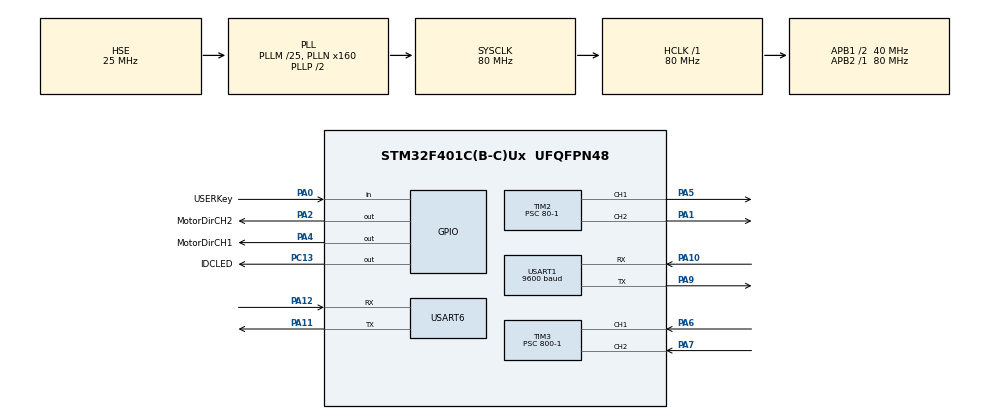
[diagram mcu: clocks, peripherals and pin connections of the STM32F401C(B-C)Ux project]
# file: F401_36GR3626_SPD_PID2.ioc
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FREERTOS.Tasks01=defaultTask,0,128,StartDefaultTask,Default,NULL,Dynamic,NULL,NULL;myTask02,-3,512,StartTask36GR3626SPDPID,Default,NULL,Dynamic,NULL,NULL;myTask03,-3,512,StartTaskUART1Send,Default,NULL,Dynamic,NULL,NULL;myTask04,-3,512,StartTaskALL_Ctrl,Default,NULL,Dynamic,NULL,NULL
FREERTOS.configTOTAL_HEAP_SIZE=51200
FREERTOS.configUSE_NEWLIB_REENTRANT=0
FREERTOS.copyHeapFile=1
Mcu.Family=STM32F4
Mcu.Name=STM32F401C(B-C)Ux
Mcu.Package=UFQFPN48
NVIC.PriorityGroup=NVIC_PRIORITYGROUP_4
NVIC.TIM1_UP_TIM10_IRQn=true\:15\:0\:false\:false\:true\:false\:false\:true\:true
NVIC.TIM3_IRQn=true\:5\:0\:false\:false\:true\:true\:true\:true\:true
NVIC.TIM5_IRQn=true\:6\:0\:true\:false\:true\:true\:true\:true\:true
NVIC.TimeBase=TIM1_UP_TIM10_IRQn
NVIC.TimeBaseIP=TIM1
NVIC.USART1_IRQn=true\:5\:0\:false\:false\:true\:true\:true\:true\:true
NVIC.USART6_IRQn=true\:7\:0\:true\:false\:true\:true\:true\:true\:true
PA0-WKUP.GPIO_Label=USERKey
PA0-WKUP.GPIO_PuPd=GPIO_PULLUP
PA0-WKUP.Signal=GPIO_Input
PA1.Signal=S_TIM2_CH2
PA10.Mode=Asynchronous
PA10.Signal=USART1_RX
PA11.Mode=Asynchronous
PA11.Signal=USART6_TX
PA12.Mode=Asynchronous
PA12.Signal=USART6_RX
PA2.GPIO_Label=MotorDirCH2
PA2.Signal=GPIO_Output
PA4.GPIO_Label=MotorDirCH1
PA4.Signal=GPIO_Output
PA5.Signal=S_TIM2_CH1_ETR
PA6.GPIO_PuPd=GPIO_PULLUP
PA6.Signal=S_TIM3_CH1
PA7.GPIO_PuPd=GPIO_PULLUP
PA7.Signal=S_TIM3_CH2
PA9.Mode=Asynchronous
PA9.Signal=USART1_TX
PC13-ANTI_TAMP.GPIO_Label=IDCLED
PC13-ANTI_TAMP.PinState=GPIO_PIN_SET
PC13-ANTI_TAMP.Signal=GPIO_Output
PH0\ -\ OSC_IN.Mode=HSE-External-Oscillator
PH0\ -\ OSC_IN.Signal=RCC_OSC_IN
PH1\ -\ OSC_OUT.Mode=HSE-External-Oscillator
PH1\ -\ OSC_OUT.Signal=RCC_OSC_OUT
ProjectManager.HeapSize=0x200
ProjectManager.StackSize=0x400
ProjectManager.TargetToolchain=MDK-ARM V5.32
RCC.48MHZClocksFreq_Value=40000000
RCC.AHBFreq_Value=80000000
RCC.APB1CLKDivider=RCC_HCLK_DIV2
RCC.APB1Freq_Value=40000000
RCC.APB1TimFreq_Value=80000000
RCC.APB2Freq_Value=80000000
RCC.APB2TimFreq_Value=80000000
RCC.CortexFreq_Value=80000000
RCC.HCLKFreq_Value=80000000
RCC.HSE_VALUE=25000000
RCC.HSI_VALUE=16000000
RCC.LSE_VALUE=32768
RCC.PLLM=25
RCC.PLLN=160
RCC.PLLSourceVirtual=RCC_PLLSOURCE_HSE
RCC.SYSCLKFreq_VALUE=80000000
RCC.SYSCLKSource=RCC_SYSCLKSOURCE_PLLCLK
RCC.VCOOutputFreq_Value=160000000
SH.S_TIM2_CH1_ETR.0=TIM2_CH1,PWM Generation1 CH1
SH.S_TIM2_CH2.0=TIM2_CH2,PWM Generation2 CH2
SH.S_TIM3_CH1.0=TIM3_CH1,Input_Capture1_from_TI1
SH.S_TIM3_CH2.0=TIM3_CH2,Input_Capture2_from_TI2
TIM2.Channel-PWM\ Generation1\ CH1=TIM_CHANNEL_1
TIM2.Channel-PWM\ Generation2\ CH2=TIM_CHANNEL_2
TIM2.Period=500-1
TIM2.Prescaler=80-1
TIM3.AutoReloadPreload=TIM_AUTORELOAD_PRELOAD_ENABLE
TIM3.Channel-Input_Capture1_from_TI1=TIM_CHANNEL_1
TIM3.Channel-Input_Capture2_from_TI2=TIM_CHANNEL_2
TIM3.ClockDivision=TIM_CLOCKDIVISION_DIV1
TIM3.ICFilter_CH1=2
TIM3.ICFilter_CH2=2
TIM3.Period=50000
TIM3.Prescaler=800-1
TIM5.AutoReloadPreload=TIM_AUTORELOAD_PRELOAD_ENABLE
TIM5.Period=10000-1
TIM5.Prescaler=80-1
USART1.BaudRate=9600
USART1.VirtualMode=VM_ASYNC
USART6.VirtualMode=VM_ASYNC
VP_FREERTOS_VS_CMSIS_V1.Mode=CMSIS_V1
VP_SYS_VS_tim1.Mode=TIM1
VP_TIM3_VS_ClockSourceINT.Mode=Internal
VP_TIM5_VS_ClockSourceINT.Mode=Internal
board=custom

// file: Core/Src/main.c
/* USER CODE BEGIN Header */
/**
 ******************************************************************************
 * @file           : main.c
 * @brief          : Main program body
 ******************************************************************************
 * @attention
 *
 * Copyright (c) 2023 STMicroelectronics.
 * All rights reserved.
 *
 * This software is licensed under terms that can be found in the LICENSE file
 * in the root directory of this software component.
 * If no LICENSE file comes with this software, it is provided AS-IS.
 *
 ******************************************************************************
 */
/* USER CODE END Header */
#include "main.h"
#include "cmsis_os.h"
#include "tim.h"
#include "usart.h"
#include "gpio.h"

/* USER CODE BEGIN Includes */
#include "USART.h"
#include "Motor.h"
#include "Encoder.h"
/* USER CODE END Includes */

/* USER CODE BEGIN PD */
uint32_t ATest;
/* USER CODE END PD */

/* USER CODE BEGIN PV */
extern EncoderTypeDef MotorEncoder[2];
extern PIDTypeDef MotorPID[2];
/* USER CODE END PV */

void SystemClock_Config(void);
void MX_FREERTOS_Init(void);

int main(void)
{

  /* MCU Configuration--------------------------------------------------------*/

  /* Reset of all peripherals, Initializes the Flash interface and the Systick. */
  HAL_Init();

  /* Configure the system clock */
  SystemClock_Config();

  /* Initialize all configured peripherals */
  MX_GPIO_Init();
  MX_USART1_UART_Init();
  MX_TIM3_Init();
  MX_TIM2_Init();
  MX_TIM5_Init();
  MX_USART6_UART_Init();

  /* Call init function for freertos objects (in freertos.c) */
  MX_FREERTOS_Init();

  /* Start scheduler */
  osKernelStart();

  /* We should never get here as control is now taken by the scheduler */
  /* Infinite loop */
  while (1)
  {

  }
}

void SystemClock_Config(void)
{
  RCC_OscInitTypeDef RCC_OscInitStruct = {0};
  RCC_ClkInitTypeDef RCC_ClkInitStruct = {0};

  /** Configure the main internal regulator output voltage
  */
  __HAL_RCC_PWR_CLK_ENABLE();
  __HAL_PWR_VOLTAGESCALING_CONFIG(PWR_REGULATOR_VOLTAGE_SCALE2);

  /** Initializes the RCC Oscillators according to the specified parameters
  * in the RCC_OscInitTypeDef structure.
  */
  RCC_OscInitStruct.OscillatorType = RCC_OSCILLATORTYPE_HSE;
  RCC_OscInitStruct.HSEState = RCC_HSE_ON;
  RCC_OscInitStruct.PLL.PLLState = RCC_PLL_ON;
  RCC_OscInitStruct.PLL.PLLSource = RCC_PLLSOURCE_HSE;
  RCC_OscInitStruct.PLL.PLLM = 25;
  RCC_OscInitStruct.PLL.PLLN = 160;
  RCC_OscInitStruct.PLL.PLLP = RCC_PLLP_DIV2;
  RCC_OscInitStruct.PLL.PLLQ = 4;
  if (HAL_RCC_OscConfig(&RCC_OscInitStruct) != HAL_OK)
  {
    Error_Handler();
  }

  /** Initializes the CPU, AHB and APB buses clocks
  */
  RCC_ClkInitStruct.ClockType = RCC_CLOCKTYPE_HCLK|RCC_CLOCKTYPE_SYSCLK
                              |RCC_CLOCKTYPE_PCLK1|RCC_CLOCKTYPE_PCLK2;
  RCC_ClkInitStruct.SYSCLKSource = RCC_SYSCLKSOURCE_PLLCLK;
  RCC_ClkInitStruct.AHBCLKDivider = RCC_SYSCLK_DIV1;
  RCC_ClkInitStruct.APB1CLKDivider = RCC_HCLK_DIV2;
  RCC_ClkInitStruct.APB2CLKDivider = RCC_HCLK_DIV1;

  if (HAL_RCC_ClockConfig(&RCC_ClkInitStruct, FLASH_LATENCY_2) != HAL_OK)
  {
    Error_Handler();
  }
}

/* USER CODE BEGIN 4 */

void HAL_UART_TxCpltCallback(UART_HandleTypeDef *huart)
{
  if (huart == &huart1)
  {
  }
}

/* USER CODE END 4 */

void HAL_TIM_PeriodElapsedCallback(TIM_HandleTypeDef *htim)
{
  if (htim->Instance == TIM1) {
    HAL_IncTick();
  }
  /* USER CODE BEGIN Callback 1 */
if (htim->Instance == TIM4)
  {
  }

  if (htim->Instance == TIM5)
  { // TIM5设置的是0.01s中断�???�???
    MotorEncoder[0].WatchDogTick++;
    // 如果看门狗计数�?�，超时�???100，说明脉冲数长时间没有更�???
    // 也就是说，轮子已经有1s保持不转了，那么转�?�就强制设为0，以防止出错
    if (MotorEncoder[0].WatchDogTick > 100)
    {
      MotorEncoder[0].RotationSpeed = 0.0;
    }

    MotorEncoder[1].WatchDogTick++;
    if (MotorEncoder[1].WatchDogTick > 100)
    {
      MotorEncoder[1].RotationSpeed = 0.0;
    }
  }
  /* USER CODE END Callback 1 */
}

void Error_Handler(void)
{
  __disable_irq();
  while (1)
  {
  }
}

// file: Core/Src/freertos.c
/* USER CODE BEGIN Header */
/**
 ******************************************************************************
 * File Name          : freertos.c
 * Description        : Code for freertos applications
 ******************************************************************************
 * @attention
 *
 * Copyright (c) 2023 STMicroelectronics.
 * All rights reserved.
 *
 * This software is licensed under terms that can be found in the LICENSE file
 * in the root directory of this software component.
 * If no LICENSE file comes with this software, it is provided AS-IS.
 *
 ******************************************************************************
 */
/* USER CODE END Header */

#include "FreeRTOS.h"
#include "task.h"
#include "main.h"
#include "cmsis_os.h"

/* USER CODE BEGIN Includes */
#include "USART.h"
#include "Motor.h"
#include "Encoder.h"
#include "string.h"
#include "Controll.h"
/* USER CODE END Includes */

/* USER CODE BEGIN Variables */
extern EncoderTypeDef MotorEncoder[2];
extern PIDTypeDef MotorPID[2];
extern uint8_t g_recv_buf[11];
extern Pitch_PIDTypeDef Pit;
extern Yaw_PIDTypeDef Yaw;
extern Distance_PIDTypeDef Distance;
float roll_angle;
float pitch_angle;
float yaw_angle;
extern float Distance_Measure;
float yaw_Init;
int Task_Flag = 0;
extern uint8_t Usart_RxData;
extern float Yaw_Expect1;
struct Places_Type places_1[8];
/* USER CODE END Variables */
osThreadId defaultTaskHandle;
osThreadId myTask02Handle;
osThreadId myTask03Handle;
osThreadId myTask04Handle;

void StartDefaultTask(void const *argument);
void StartTask36GR3626SPDPID(void const *argument);
void StartTaskUART1Send(void const *argument);
void StartTaskALL_Ctrl(void const *argument);

void MX_FREERTOS_Init(void); /* (MISRA C 2004 rule 8.1) */

/* GetIdleTaskMemory prototype (linked to static allocation support) */
void vApplicationGetIdleTaskMemory(StaticTask_t **ppxIdleTaskTCBBuffer, StackType_t **ppxIdleTaskStackBuffer, uint32_t *pulIdleTaskStackSize);

/* USER CODE BEGIN GET_IDLE_TASK_MEMORY */
static StaticTask_t xIdleTaskTCBBuffer;
static StackType_t xIdleStack[configMINIMAL_STACK_SIZE];

void vApplicationGetIdleTaskMemory(StaticTask_t **ppxIdleTaskTCBBuffer, StackType_t **ppxIdleTaskStackBuffer, uint32_t *pulIdleTaskStackSize)
{
  *ppxIdleTaskTCBBuffer = &xIdleTaskTCBBuffer;
  *ppxIdleTaskStackBuffer = &xIdleStack[0];
  *pulIdleTaskStackSize = configMINIMAL_STACK_SIZE;
  /* place for user code */
}
/* USER CODE END GET_IDLE_TASK_MEMORY */

void MX_FREERTOS_Init(void)
{

  /* Create the thread(s) */
  /* definition and creation of defaultTask */
  osThreadDef(defaultTask, StartDefaultTask, osPriorityNormal, 0, 128);
  defaultTaskHandle = osThreadCreate(osThread(defaultTask), NULL);

  /* definition and creation of myTask02 */
  osThreadDef(myTask02, StartTask36GR3626SPDPID, osPriorityIdle, 0, 512);
  myTask02Handle = osThreadCreate(osThread(myTask02), NULL);

  /* definition and creation of myTask03 */
  osThreadDef(myTask03, StartTaskUART1Send, osPriorityIdle, 0, 512);
  myTask03Handle = osThreadCreate(osThread(myTask03), NULL);

  /* definition and creation of myTask04 */
  osThreadDef(myTask04, StartTaskALL_Ctrl, osPriorityIdle, 0, 512);
  myTask04Handle = osThreadCreate(osThread(myTask04), NULL);

}

void StartDefaultTask(void const *argument)
{
  for (;;)
  {
    osDelay(1);
  }
}

void StartTask36GR3626SPDPID(void const *argument)
{
  /* USER CODE BEGIN StartTask36GR3626SPDPID */
  EncoderInit();
  MotorPIDInit();
  HAL_TIM_PWM_Start(&htim2, TIM_CHANNEL_1);
  HAL_TIM_PWM_Start(&htim2, TIM_CHANNEL_2);
  /* Infinite loop */
  for (;;)
  {
    if (MotorPID[0].RPMSetting > 0)
    {
      HAL_GPIO_WritePin(MotorDirCH1_GPIO_Port, MotorDirCH1_Pin, GPIO_PIN_SET);
      MotorEncoder[0].MotorDir = 1.0;
    }
    else
    {
      HAL_GPIO_WritePin(MotorDirCH1_GPIO_Port, MotorDirCH1_Pin, GPIO_PIN_RESET);
      MotorEncoder[0].MotorDir = -1.0;
    }
    MotorPID[0].FunctionCalPID(&MotorPID[0], MotorEncoder[0].RotationSpeed);
    MotorCtrl(0, MotorPID[0].PWMOutput);

    if (MotorPID[1].RPMSetting > 0)
    {
      HAL_GPIO_WritePin(MotorDirCH2_GPIO_Port, MotorDirCH2_Pin, GPIO_PIN_RESET);
      MotorEncoder[1].MotorDir = 1.0;
    }
    else
    {
      HAL_GPIO_WritePin(MotorDirCH2_GPIO_Port, MotorDirCH2_Pin, GPIO_PIN_SET);
      MotorEncoder[1].MotorDir = -1.0;
    }
    MotorPID[1].FunctionCalPID(&MotorPID[1], MotorEncoder[1].RotationSpeed);
    MotorCtrl(1, MotorPID[1].PWMOutput);

    osDelay(10);
  }
  /* USER CODE END StartTask36GR3626SPDPID */
}

void StartTaskUART1Send(void const *argument)
{
  /* USER CODE BEGIN StartTaskUART1Send */
  HAL_UART_Transmit_IT(&huart1, "Ready!", 6);
  HAL_UART_Receive(&huart6, g_recv_buf, sizeof(g_recv_buf), 200);
  HAL_UART_Receive_IT(&huart1, &Usart_RxData, 1);
  const uint8_t send_cmd[3] = {0xA5, 0x95, 0x3A};
  /* Infinite loop */
  for (;;)
  {
    HAL_UART_Transmit_IT(&huart6, send_cmd, sizeof(send_cmd));
    HAL_UART_Receive(&huart6, g_recv_buf, sizeof(g_recv_buf), 200);
    int16_t pitch_raw = (g_recv_buf[4] << 8) | g_recv_buf[5]; // 16位原始值（示例字节位，需按实际调整）
    int16_t roll_raw = (g_recv_buf[6] << 8) | g_recv_buf[7];
    int16_t yaw_raw = (g_recv_buf[8] << 8) | g_recv_buf[9];
    // 实际角度 = 原始数据 / 100（保�?2位小数）
    roll_angle = (float)roll_raw / 100.0f;
    pitch_angle = (float)pitch_raw / 100.0f;
    yaw_angle = (float)yaw_raw / 100.0f;
    // printf("%.2f,%.2f,%.2f,%.2f,%.2f,%.2f\n",
    //        Pit.RPMOutput, pitch_angle, Yaw.YawSetting, yaw_angle, Pit.KP, Yaw.KI);
    printf("%.2f,%.2f,%.2f,%.2f,%.2f,%.2f\n",
           Pit.PitchSetting, pitch_angle, Pit.RPMOutput, Pit.KP, Yaw.YawSetting, yaw_angle);

    osDelay(10);
  }
  /* USER CODE END StartTaskUART1Send */
}

void StartTaskALL_Ctrl(void const *argument)
{
  /* USER CODE BEGIN StartTaskALL_Ctrl */
  Pitch_PID_Init();
  Yaw_PID_Init();
  Distance_PID_Init();
  places_1[0].x = 0.5f;
  places_1[0].y = 0.0f;
  places_1[1].x = 0.5f;
  places_1[1].y = 0.3f;
  places_1[2].x = 0.0f;
  places_1[2].y = 0.3f;
  places_1[3].x = 0.0f;
  places_1[3].y = 0.0f;
  places_1[4].x = 0.0f;
  places_1[4].y = 0.3f;
  places_1[5].x = 0.5f;
  places_1[5].y = 0.3f;
  places_1[6].x = 0.5f;
  places_1[6].y = 0.0f;
  places_1[7].x = 0.0f;
  places_1[7].y = 0.0f;
  /* Infinite loop */
  for (;;)
  {
    // Task0 按下按键，记录Yaw初始�?
    if (Task_Flag == 0)
    {
      if (HAL_GPIO_ReadPin(GPIOA, GPIO_PIN_0) == GPIO_PIN_RESET)
      {
        osDelay(100);
        if (HAL_GPIO_ReadPin(GPIOA, GPIO_PIN_0) == GPIO_PIN_RESET)
        {
          Yaw.YawSetting = yaw_angle;
          yaw_Init = yaw_angle;
          Task_Flag = 1;
          Distance.DistanceSetting = 1.0f; // 设置目标距离，单位米
        }
      }
      LED_Flash(100);
    }
    if (Task_Flag == 1)
    {
      MotorPID[0].RPMSetting = Yaw.FunctionCalPID(&Yaw, yaw_angle);
      MotorPID[1].RPMSetting = -Yaw.FunctionCalPID(&Yaw, yaw_angle);
      HAL_GPIO_WritePin(GPIOC, GPIO_PIN_13, GPIO_PIN_RESET);
      osDelay(10);
      if (HAL_GPIO_ReadPin(GPIOA, GPIO_PIN_0) == GPIO_PIN_RESET)
      {
        osDelay(400);
        if (HAL_GPIO_ReadPin(GPIOA, GPIO_PIN_0) == GPIO_PIN_RESET)
        {
          Task_Flag = 2;
        }
      }
    }
    if (Task_Flag == 2)
    {
      // MotorPID[0].RPMSetting = Distance.FunctionCalPID(&Distance, Distance_Measure) + Yaw.FunctionCalPID(&Yaw, yaw_angle);
      // MotorPID[1].RPMSetting = Distance.FunctionCalPID(&Distance, Distance_Measure) - Yaw.FunctionCalPID(&Yaw, yaw_angle);
      // osDelay(100);
      HAL_GPIO_WritePin(GPIOC, GPIO_PIN_13, GPIO_PIN_SET);
      Xunhang(places_1);
      if (HAL_GPIO_ReadPin(GPIOA, GPIO_PIN_0) == GPIO_PIN_RESET)
      {
        osDelay(400);
        if (HAL_GPIO_ReadPin(GPIOA, GPIO_PIN_0) == GPIO_PIN_RESET)
        {
          Task_Flag = 3;
        }
      }
    }
    if (Task_Flag == 3)
    {
      HAL_GPIO_WritePin(GPIOC, GPIO_PIN_13, GPIO_PIN_RESET);
      // if (pitch_angle > 1.0f || pitch_angle < -1.0f)
      {
        MotorPID[0].RPMSetting = -Pit.FunctionCalPID(&Pit, pitch_angle);
        MotorPID[1].RPMSetting = -Pit.FunctionCalPID(&Pit, pitch_angle);
      }
    }
    osDelay(10);
  }
  /* USER CODE END StartTaskALL_Ctrl */
}
